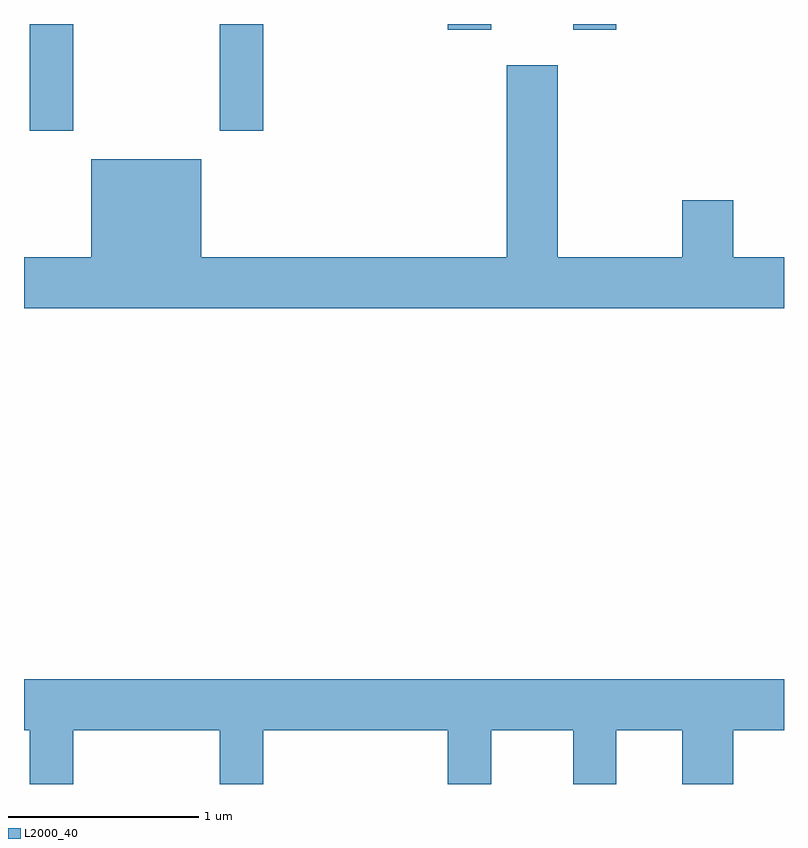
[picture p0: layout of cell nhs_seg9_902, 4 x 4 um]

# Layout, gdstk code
import gdstk
lib = gdstk.Library(unit=1e-6, precision=1e-09)
def R(c, l, rs):  # rectangles x0, y0, x1, y1
    for r in rs: c.add(gdstk.rectangle(r[:2], r[2:], *l))
def P(c, l, *ps):  # polygons
    for p in ps: c.add(gdstk.Polygon(p, *l))
L2000_40 = (2000, 40)

nhs_seg9_902 = lib.new_cell('nhs_seg9_902')
R(nhs_seg9_902, L2000_40, [(211.641,1983.871,211.869,1984.432), (212.641,1983.871,212.869,1984.432), (213.841,1984.401,214.069,1984.432), (214.501,1984.401,214.729,1984.432)])
P(nhs_seg9_902, L2000_40, [(215.611,1983.204),(215.344,1983.204),(215.344,1983.504),(215.076,1983.504),(215.076,1983.204),(214.419,1983.204),(214.419,1984.214),(214.151,1984.214),(214.151,1983.204),(212.544,1983.204),(212.544,1983.719),(211.966,1983.719),(211.966,1983.204),(211.611,1983.204),(211.611,1982.936),(215.611,1982.936)],
  [(211.869,1980.716),(212.641,1980.716),(212.641,1980.432),(212.869,1980.432),(212.869,1980.716),(213.841,1980.716),(213.841,1980.432),(214.069,1980.432),(214.069,1980.716),(214.501,1980.716),(214.501,1980.432),(214.729,1980.432),(214.729,1980.716),(215.076,1980.716),(215.076,1980.432),(215.344,1980.432),(215.344,1980.716),(215.611,1980.716),(215.611,1980.984),(211.611,1980.984),(211.611,1980.716),(211.641,1980.716),(211.641,1980.432),(211.869,1980.432)])

lib.write_gds('nhs_seg9_902.gds')
